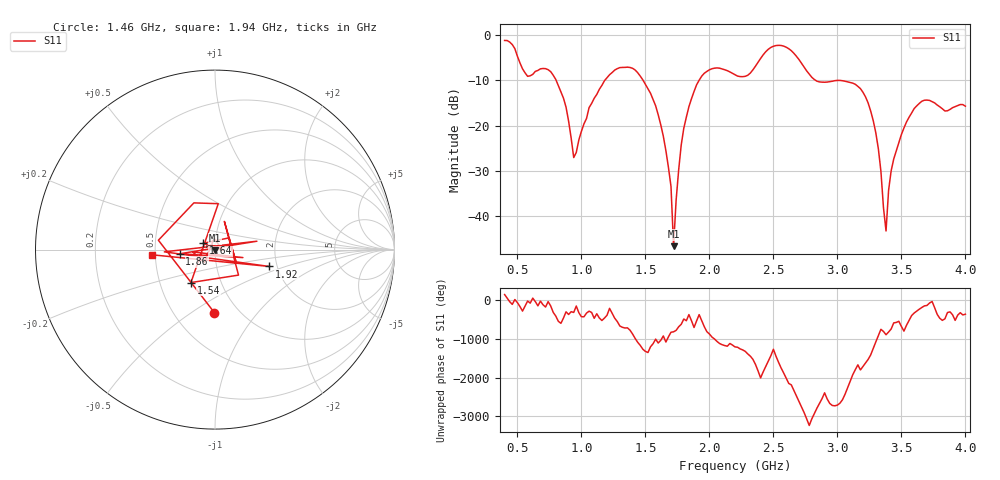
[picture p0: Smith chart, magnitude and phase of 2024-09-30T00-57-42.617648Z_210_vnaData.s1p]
!Created with skrf (http://scikit-rf.org).
# Hz S RI R 50.0
!freq ReS11 ImS11
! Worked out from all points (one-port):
!   181 points, 400 MHz to 4 GHz, reference 50 ohm
!   lowest |S11| = -46.6 dB at 1.72 GHz (marker M1), VSWR 1.01, Z = 49.9 - j0.458 ohm
!   |S11| at or under -10 dB: 802.6 MHz to 1.183 GHz (380.2 MHz wide, 38.3 % of centre); 1.482 GHz to 1.919 GHz (437.5 MHz wide, 25.7 % of centre); 2.83 GHz to end of sweep
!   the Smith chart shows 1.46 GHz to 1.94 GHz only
!   S11 on the Smith chart (normalised r, x): 1.46 GHz: 0.78, -0.62; 1.54 GHz: 0.72, -0.28; 1.64 GHz: 0.87, +0.06; 1.86 GHz: 0.67, -0.03; 1.92 GHz: 1.82, -0.38; 1.94 GHz: 0.48, -0.03
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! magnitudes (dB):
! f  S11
! 400 MHz  -1.2
! 580 MHz  -9.1
! 760 MHz  -8.1
! 860 MHz  -13.9
! 940 MHz  -27.1
! 1.06 GHz  -16.0
! 1.3 GHz  -7.2
! 1.46 GHz  -9.1
! 1.54 GHz  -12.9
! 1.64 GHz  -22.3
! 1.7 GHz  -33.5
! 1.72 GHz  -46.6
! 1.76 GHz  -29.8
! 1.86 GHz  -14.1
! 1.92 GHz  -10.0
! 1.94 GHz  -9.1
! 2.2 GHz  -8.8
! 2.5 GHz  -2.5
! 2.66 GHz  -4.0
! 2.84 GHz  -10.2
! 3.1 GHz  -10.5
! 3.28 GHz  -18.9
! 3.32 GHz  -25.1
! 3.38 GHz  -43.3
! 3.42 GHz  -30.0
! 3.56 GHz  -18.2
! 3.68 GHz  -14.4
! 4 GHz  -15.7
